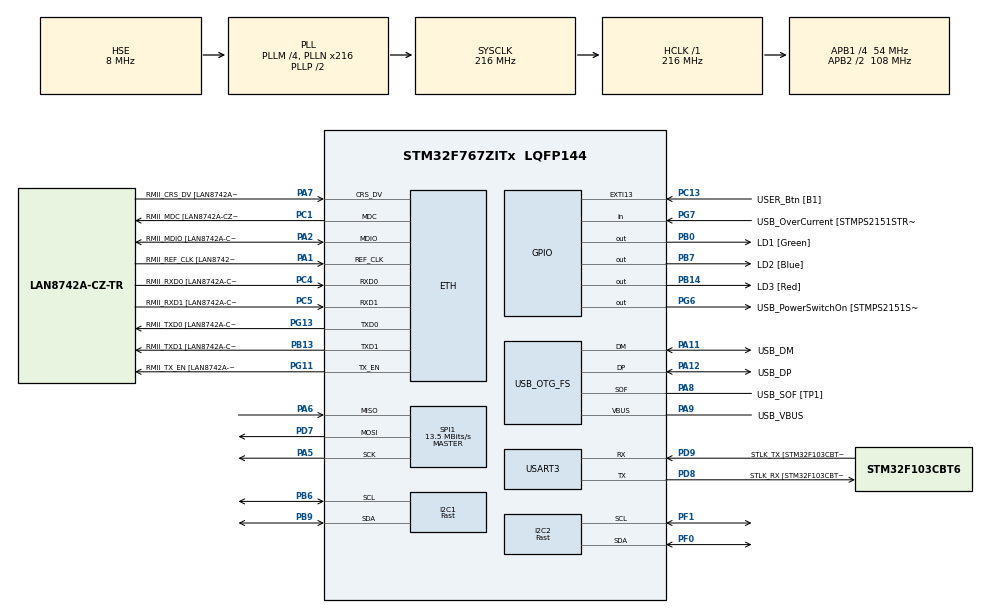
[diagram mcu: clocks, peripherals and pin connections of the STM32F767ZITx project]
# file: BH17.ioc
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Mcu.Family=STM32F7
PD7.Mode=Full_Duplex_Master
VP_TIM5_VS_ClockSourceINT.Mode=Internal
PA6.Mode=Full_Duplex_Master
RCC.CortexFreq_Value=216000000
PG6.Signal=GPIO_Output
I2C1.I2C_Speed_Mode=I2C_Fast
SPI1.VirtualType=VM_MASTER
PB14.GPIO_Label=LD3 [Red]
PG6.GPIO_Label=USB_PowerSwitchOn [STMPS2151STR_EN]
PA14.GPIO_Label=TCK
RCC.SYSCLKSourceVirtual=RCC_SYSCLKSOURCE_PLLCLK
I2C2.Timing=0x6000030D
PA11.Mode=Device_Only
I2C2.Timeout=0x00008293
PB0.GPIO_Label=LD1 [Green]
PC14/OSC32_IN.Mode=LSE-External-Oscillator
PC5.Mode=RMII
PC13.GPIO_Label=USER_Btn [B1]
PB13.GPIO_Label=RMII_TXD1 [LAN8742A-CZ-TR_TXD1]
PB13.Signal=ETH_TXD1
PG13.Signal=ETH_TXD0
PD9.Mode=Asynchronous
PG11.Signal=ETH_TX_EN
RCC.SYSCLKSource=RCC_SYSCLKSOURCE_PLLCLK
ProjectManager.StackSize=0x400
USART3.VirtualMode-Asynchronous=VM_ASYNC
PA12.Signal=USB_OTG_FS_DP
NVIC.TIM5_IRQn=true\:0\:0\:false\:false\:true\:true\:true
ETH.PHY_Value=0
SPI1.Direction=SPI_DIRECTION_2LINES
PH0/OSC_IN.Mode=HSE-External-Clock-Source
RCC.HCLKFreq_Value=216000000
I2C2.I2C_Speed_Mode=I2C_Fast
RCC.APB2TimFreq_Value=216000000
PB6.Signal=I2C1_SCL
PH1/OSC_OUT.Signal=RCC_OSC_OUT
PB6.Mode=I2C
SPI1.CalculateBaudRate=13.5 MBits/s
PD8.Signal=USART3_TX
RCC.AHBFreq_Value=216000000
RCC.HSE_VALUE=8000000
RCC.PLLMUL=RCC_PLL_MUL9
PC4.GPIO_Label=RMII_RXD0 [LAN8742A-CZ-TR_RXD0]
PA14.Mode=Serial_Wire
NVIC.TIM2_IRQn=true\:0\:0\:false\:false\:true\:true\:true
SPI1.DataSize=SPI_DATASIZE_8BIT
PA10.GPIO_Label=USB_ID
PB7.Signal=GPIO_Output
PA8.Signal=USB_OTG_FS_SOF
PG13.Mode=RMII
ETH.PHY_Name=LAN8742A_PHY_ADDRESS
PH1/OSC_OUT.Mode=HSE-External-Clock-Source
PB7.GPIO_Label=LD2 [Blue]
Mcu.Package=LQFP144
PB9.Signal=I2C1_SDA
PA6.Signal=SPI1_MISO
NVIC.TimeBase=TIM4_IRQn
PC14/OSC32_IN.Signal=RCC_OSC32_IN
PA2.GPIO_Label=RMII_MDIO [LAN8742A-CZ-TR_MDIO]
NVIC.TimeBaseIP=TIM4
PA10.Signal=USB_OTG_FS_ID
USB_OTG_FS.VirtualMode=Device_Only
RCC.APB2CLKDivider=RCC_HCLK_DIV2
RCC.APB1TimFreq_Value=108000000
PG11.GPIO_Label=RMII_TX_EN [LAN8742A-CZ-TR_TXEN]
PF0.Signal=I2C2_SDA
PC5.Signal=ETH_RXD1
PB13.Mode=RMII
SPI1.BaudRatePrescaler=SPI_BAUDRATEPRESCALER_8
PC4.Mode=RMII
PA5.Mode=Full_Duplex_Master
PB3.GPIO_Label=SWO
CORTEX_M7.CPU_ICache=Enabled
PA7.Mode=RMII
PG7.Signal=GPIO_Input
PD9.GPIO_Label=STLK_TX [STM32F103CBT6_PA2]
PC13.Signal=GPXTI13
PA9.GPIO_Label=USB_VBUS
PC4.Signal=ETH_RXD0
PD7.Signal=SPI1_MOSI
PA11.GPIO_Label=USB_DM
PD9.Signal=USART3_RX
RCC.APB1CLKDivider=RCC_HCLK_DIV4
PG13.GPIO_Label=RMII_TXD0 [LAN8742A-CZ-TR_TXD0]
ETH.PhyAddress=0
PA12.GPIO_Label=USB_DP
PD8.GPIO_Label=STLK_RX [STM32F103CBT6_PA3]
PA13.Signal=SYS_JTMS-SWDIO
PF1.Mode=I2C
CORTEX_M7.MPU_Control=MPU_HFNMI_PRIVDEF
PA9.Mode=Activate_VBUS
PA8.GPIO_Label=USB_SOF [TP1]
ProjectManager.TargetToolchain=TrueSTUDIO
PB9.Mode=I2C
PA9.Signal=USB_OTG_FS_VBUS
I2C1.Timing=0x6000030D
RCC.USBFreq_Value=48000000
PD8.Mode=Asynchronous
PA1.Signal=ETH_REF_CLK
PB14.Signal=GPIO_Output
PA5.Signal=SPI1_SCK
board=NUCLEO-F767ZI
RCC.VCOOutputFreq_Value=432000000
PH0/OSC_IN.Signal=RCC_OSC_IN
RCC.APB2Freq_Value=108000000
PA1.Mode=RMII
RCC.PRESCALERUSB=RCC_USBCLKSOURCE_PLL_DIV1_5
VP_TIM2_VS_ClockSourceINT.Mode=Internal
SPI1.Mode=SPI_MODE_MASTER
PG7.GPIO_Label=USB_OverCurrent [STMPS2151STR_FAULT]
PA1.GPIO_Label=RMII_REF_CLK [LAN8742A-CZ-TR_REFCLK0]
PC1.GPIO_Label=RMII_MDC [LAN8742A-CZ-TR_MDC]
PF1.Signal=I2C2_SCL
PA13.Mode=Serial_Wire
Mcu.Name=STM32F767ZITx
PA2.Signal=ETH_MDIO
PA13.GPIO_Label=TMS
RCC.48MHZClocksFreq_Value=24000000
PB3.Signal=SYS_JTDO-SWO
RCC.SYSCLKFreq_VALUE=216000000
ETH.MediaInterface=ETH_MEDIA_INTERFACE_RMII
PA7.GPIO_Label=RMII_CRS_DV [LAN8742A-CZ-TR_CRS_DV]
PA12.Mode=Device_Only
PC5.GPIO_Label=RMII_RXD1 [LAN8742A-CZ-TR_RXD1]
PC15/OSC32_OUT.Mode=LSE-External-Oscillator
PG11.Mode=RMII
PA11.Signal=USB_OTG_FS_DM
PA14.Signal=SYS_JTCK-SWCLK
ProjectManager.HeapSize=0x200
PF0.Mode=I2C
VP_SYS_VS_tim4.Mode=TIM4
RCC.HSI_VALUE=16000000
PH0/OSC_IN.GPIO_Label=MCO [STM32F103CBT6_PA8]
RCC.PLLQ=9
NVIC.PriorityGroup=NVIC_PRIORITYGROUP_4
RCC.PLLM=4
RCC.PLLN=216
PA2.Mode=RMII
PC15/OSC32_OUT.Signal=RCC_OSC32_OUT
PA8.Mode=Activate_SOF_FS
CORTEX_M7.CPU_DCache=Enabled
NVIC.TIM4_IRQn=true\:0\:0\:false\:false\:true\:false\:true
RCC.APB1Freq_Value=54000000
PB0.Signal=GPIO_Output
PC1.Signal=ETH_MDC
PC1.Mode=RMII
PA7.Signal=ETH_CRS_DV

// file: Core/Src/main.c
/* USER CODE BEGIN Header */
/**
  ******************************************************************************
  * @file           : main.c
  * @brief          : Main program body
  ******************************************************************************
  * @attention
  *
  * <h2><center>&copy; Copyright (c) 2021 STMicroelectronics.
  * All rights reserved.</center></h2>
  *
  * This software component is licensed by ST under BSD 3-Clause license,
  * the "License"; You may not use this file except in compliance with the
  * License. You may obtain a copy of the License at:
  *                        opensource.org/licenses/BSD-3-Clause
  *
  ******************************************************************************
  */
/* USER CODE END Header */
#include "main.h"

/* USER CODE BEGIN Includes */
#include "bh1750.h"

/* USER CODE END Includes */

/* USER CODE BEGIN PTD */
#define MCP9808_REG_TEMP (0x05) // Temperature Register
#define MCP9808_REG_CONF (0x01) // Configuration Register
#define MCP9808_ADDR     (0x30) // MCP9808 base address 0x18<<1

/* USER CODE END PTD */

/* USER CODE BEGIN PM */
char buffer[50];
/* USER CODE END PM */

ETH_HandleTypeDef heth;

I2C_HandleTypeDef hi2c1;
I2C_HandleTypeDef hi2c2;

SPI_HandleTypeDef hspi1;

TIM_HandleTypeDef htim2;
TIM_HandleTypeDef htim5;

UART_HandleTypeDef huart3;

PCD_HandleTypeDef hpcd_USB_OTG_FS;

/* USER CODE BEGIN PV */
volatile char TempCelsiusDisplay[] = "+abc.dd C";

/* USER CODE END PV */

void SystemClock_Config(void);
static void MPU_Config(void);
static void MX_GPIO_Init(void);
static void MX_ETH_Init(void);
static void MX_I2C1_Init(void);
static void MX_I2C2_Init(void);
static void MX_SPI1_Init(void);
static void MX_TIM2_Init(void);
static void MX_TIM5_Init(void);
static void MX_USART3_UART_Init(void);
static void MX_USB_OTG_FS_PCD_Init(void);
/* USER CODE BEGIN PFP */
float BH1750_lux;
/* USER CODE END PFP */

int main(void)
{
  /* USER CODE BEGIN 1 */
	  uint8_t size;

	  float temprature;
	    char data_write[3];
	    char data_read[2];
	    int tempval;
  /* USER CODE END 1 */

  /* MPU Configuration--------------------------------------------------------*/
 MPU_Config();

  /* Enable I-Cache---------------------------------------------------------*/
  SCB_EnableICache();

  /* Enable D-Cache---------------------------------------------------------*/
 SCB_EnableDCache();

  /* MCU Configuration--------------------------------------------------------*/

  /* Reset of all peripherals, Initializes the Flash interface and the Systick. */
  HAL_Init();

  /* USER CODE BEGIN Init */
  uint8_t buf[100];
  data_write[0] = MCP9808_REG_CONF;
   data_write[1] = 0x00;  // config msb
   data_write[2] = 0x00;  // config lsb
   int stat=0;
  /* USER CODE END Init */

  /* Configure the system clock */
  SystemClock_Config();

  /* Initialize all configured peripherals */
  MX_GPIO_Init();
 // MX_ETH_Init();
  MX_I2C1_Init();
  MX_I2C2_Init();
  MX_SPI1_Init();
  MX_TIM2_Init();
  MX_TIM5_Init();
  MX_USART3_UART_Init();
 // MX_USB_OTG_FS_PCD_Init();
  HAL_Delay(3000);
   if(HAL_I2C_Init(&hi2c1) != HAL_OK)
   {
     /* Initialization Error */
 		sprintf(buf,"error Initiate  %d\r\n");
 		HAL_UART_Transmit(&huart3,buf,strlen(buf),1000);
   }
 sprintf(buf,"hello World\n\r");
 if(stat=(HAL_I2C_Master_Transmit(&hi2c1,MCP9808_ADDR,data_write,3,1000))!=HAL_OK)
 {
 	sprintf(buf,"error sending commmand  %d\r\n",stat);
 	HAL_UART_Transmit(&huart3,buf,strlen(buf),1000);
     while (1) {
          HAL_GPIO_TogglePin(LD2_GPIO_Port,LD2_Pin);
          HAL_Delay(200);
      }

 }
  size = sprintf(buffer, "BH1750 start \n\r");
  HAL_UART_Transmit(&huart3, (uint8_t*)buffer, size, 100);
 // BH1750_init_i2c(&hi2c1);
   BH1750_device_t* test_dev = BH1750_init_dev_struct(&hi2c2, "test device", true);
   BH1750_init_dev(test_dev);
   size = sprintf(buffer, "BH1750 start \n\r");
   HAL_UART_Transmit(&huart3, (uint8_t*)buffer, size, 100);
  /* Infinite loop */
  /* USER CODE BEGIN WHILE */

  while (1)
  {
	  data_write[0] = MCP9808_REG_TEMP;
		      HAL_I2C_Master_Transmit(&hi2c1,MCP9808_ADDR,data_write,1,1000);// no stop
		     HAL_I2C_Master_Receive(&hi2c1,MCP9808_ADDR, data_read, 2,1000);
		     if(data_read[0] & 0xE0) {
		    	 sprintf(buf,"\r\n");
		         HAL_UART_Transmit(&huart3,buf,strlen(buf),1000);
		         data_read[0] = data_read[0] & 0x1F;  // clear flag bits
		     }
		     if((data_read[0] & 0x10) == 0x10) {
		         data_read[0] = data_read[0] & 0x0F;
		         TempCelsiusDisplay[0] = '-';
		         tempval = 256 - (data_read[0] << 4) + (data_read[1] >> 4);
		     } else {
		         TempCelsiusDisplay[0] = '+';
		         tempval = (data_read[0] << 4) + (data_read[1] >> 4);
		     }

		     // fractional part (0.25°C precision)
		     if (data_read[1] & 0x08) {
		         if(data_read[1] & 0x04) {
		             TempCelsiusDisplay[5] = '7';
		             TempCelsiusDisplay[6] = '5';
		         } else {
		             TempCelsiusDisplay[5] = '5';
		             TempCelsiusDisplay[6] = '0';
		         }
		     } else {
		         if(data_read[1] & 0x04) {
		             TempCelsiusDisplay[5] = '2';
		             TempCelsiusDisplay[6] = '5';
		         }else{
		             TempCelsiusDisplay[5] = '0';
		             TempCelsiusDisplay[6] = '0';
		         }
		     }

		     // Integer part
		     TempCelsiusDisplay[1] = (tempval / 100) + 0x30;
		     TempCelsiusDisplay[2] = ((tempval % 100) / 10) + 0x30;
		     TempCelsiusDisplay[3] = ((tempval % 100) % 10) + 0x30;

		     // Display result
		     sprintf(buf,"temp = %s\r\n", TempCelsiusDisplay);
		     HAL_UART_Transmit(&huart3,buf,strlen(buf),1000);
		  test_dev->poll(test_dev);
		  	  HAL_Delay(1000);
    /* USER CODE END WHILE */

  }
}

void SystemClock_Config(void)
{
  RCC_OscInitTypeDef RCC_OscInitStruct = {0};
  RCC_ClkInitTypeDef RCC_ClkInitStruct = {0};
  RCC_PeriphCLKInitTypeDef PeriphClkInitStruct = {0};

  /** Configure LSE Drive Capability
  */
  HAL_PWR_EnableBkUpAccess();
  /** Configure the main internal regulator output voltage
  */
  __HAL_RCC_PWR_CLK_ENABLE();
  __HAL_PWR_VOLTAGESCALING_CONFIG(PWR_REGULATOR_VOLTAGE_SCALE1);
  /** Initializes the RCC Oscillators according to the specified parameters
  * in the RCC_OscInitTypeDef structure.
  */
  RCC_OscInitStruct.OscillatorType = RCC_OSCILLATORTYPE_HSE;
  RCC_OscInitStruct.HSEState = RCC_HSE_BYPASS;
  RCC_OscInitStruct.PLL.PLLState = RCC_PLL_ON;
  RCC_OscInitStruct.PLL.PLLSource = RCC_PLLSOURCE_HSE;
  RCC_OscInitStruct.PLL.PLLM = 4;
  RCC_OscInitStruct.PLL.PLLN = 216;
  RCC_OscInitStruct.PLL.PLLP = RCC_PLLP_DIV2;
  RCC_OscInitStruct.PLL.PLLQ = 9;
  if (HAL_RCC_OscConfig(&RCC_OscInitStruct) != HAL_OK)
  {
    Error_Handler();
  }
  /** Activate the Over-Drive mode
  */
  if (HAL_PWREx_EnableOverDrive() != HAL_OK)
  {
    Error_Handler();
  }
  /** Initializes the CPU, AHB and APB buses clocks
  */
  RCC_ClkInitStruct.ClockType = RCC_CLOCKTYPE_HCLK|RCC_CLOCKTYPE_SYSCLK
                              |RCC_CLOCKTYPE_PCLK1|RCC_CLOCKTYPE_PCLK2;
  RCC_ClkInitStruct.SYSCLKSource = RCC_SYSCLKSOURCE_PLLCLK;
  RCC_ClkInitStruct.AHBCLKDivider = RCC_SYSCLK_DIV1;
  RCC_ClkInitStruct.APB1CLKDivider = RCC_HCLK_DIV4;
  RCC_ClkInitStruct.APB2CLKDivider = RCC_HCLK_DIV2;

  if (HAL_RCC_ClockConfig(&RCC_ClkInitStruct, FLASH_LATENCY_7) != HAL_OK)
  {
    Error_Handler();
  }
  PeriphClkInitStruct.PeriphClockSelection = RCC_PERIPHCLK_USART3|RCC_PERIPHCLK_I2C1
                              |RCC_PERIPHCLK_I2C2|RCC_PERIPHCLK_CLK48;
  PeriphClkInitStruct.Usart3ClockSelection = RCC_USART3CLKSOURCE_PCLK1;
  PeriphClkInitStruct.I2c1ClockSelection = RCC_I2C1CLKSOURCE_PCLK1;
  PeriphClkInitStruct.I2c2ClockSelection = RCC_I2C2CLKSOURCE_PCLK1;
  PeriphClkInitStruct.Clk48ClockSelection = RCC_CLK48SOURCE_PLL;
  if (HAL_RCCEx_PeriphCLKConfig(&PeriphClkInitStruct) != HAL_OK)
  {
    Error_Handler();
  }
}

static void MX_ETH_Init(void)
{

  heth.Instance = ETH;
  heth.Init.AutoNegotiation = ETH_AUTONEGOTIATION_ENABLE;
  heth.Init.Speed = ETH_SPEED_100M;
  heth.Init.DuplexMode = ETH_MODE_FULLDUPLEX;
  heth.Init.PhyAddress = LAN8742A_PHY_ADDRESS;
  heth.Init.MACAddr[0] =   0x00;
  heth.Init.MACAddr[1] =   0x80;
  heth.Init.MACAddr[2] =   0xE1;
  heth.Init.MACAddr[3] =   0x00;
  heth.Init.MACAddr[4] =   0x00;
  heth.Init.MACAddr[5] =   0x00;
  heth.Init.RxMode = ETH_RXPOLLING_MODE;
  heth.Init.ChecksumMode = ETH_CHECKSUM_BY_HARDWARE;
  heth.Init.MediaInterface = ETH_MEDIA_INTERFACE_RMII;

  if (HAL_ETH_Init(&heth) != HAL_OK)
  {
    Error_Handler();
  }

}

static void MX_I2C1_Init(void)
{

  hi2c1.Instance = I2C1;
  hi2c1.Init.Timing = 0x20303E5D;
  hi2c1.Init.OwnAddress1 = 0;
  hi2c1.Init.AddressingMode = I2C_ADDRESSINGMODE_7BIT;
  hi2c1.Init.DualAddressMode = I2C_DUALADDRESS_DISABLE;
  hi2c1.Init.OwnAddress2 = 0;
  hi2c1.Init.OwnAddress2Masks = I2C_OA2_NOMASK;
  hi2c1.Init.GeneralCallMode = I2C_GENERALCALL_DISABLE;
  hi2c1.Init.NoStretchMode = I2C_NOSTRETCH_DISABLE;
  if (HAL_I2C_Init(&hi2c1) != HAL_OK)
  {
    Error_Handler();
  }
  /** Configure Analogue filter
  */
  if (HAL_I2CEx_ConfigAnalogFilter(&hi2c1, I2C_ANALOGFILTER_ENABLE) != HAL_OK)
  {
    Error_Handler();
  }
  /** Configure Digital filter
  */
  if (HAL_I2CEx_ConfigDigitalFilter(&hi2c1, 0) != HAL_OK)
  {
    Error_Handler();
  }

}

static void MX_I2C2_Init(void)
{

  hi2c2.Instance = I2C2;
  hi2c2.Init.Timing = 0x20303E5D;
  hi2c2.Init.OwnAddress1 = 0;
  hi2c2.Init.AddressingMode = I2C_ADDRESSINGMODE_7BIT;
  hi2c2.Init.DualAddressMode = I2C_DUALADDRESS_DISABLE;
  hi2c2.Init.OwnAddress2 = 0;
  hi2c2.Init.OwnAddress2Masks = I2C_OA2_NOMASK;
  hi2c2.Init.GeneralCallMode = I2C_GENERALCALL_DISABLE;
  hi2c2.Init.NoStretchMode = I2C_NOSTRETCH_DISABLE;
  if (HAL_I2C_Init(&hi2c2) != HAL_OK)
  {
    Error_Handler();
  }
  /** Configure Analogue filter
  */
  if (HAL_I2CEx_ConfigAnalogFilter(&hi2c2, I2C_ANALOGFILTER_ENABLE) != HAL_OK)
  {
    Error_Handler();
  }
  /** Configure Digital filter
  */
  if (HAL_I2CEx_ConfigDigitalFilter(&hi2c2, 0) != HAL_OK)
  {
    Error_Handler();
  }

}

static void MX_SPI1_Init(void)
{

  /* SPI1 parameter configuration*/
  hspi1.Instance = SPI1;
  hspi1.Init.Mode = SPI_MODE_MASTER;
  hspi1.Init.Direction = SPI_DIRECTION_2LINES;
  hspi1.Init.DataSize = SPI_DATASIZE_8BIT;
  hspi1.Init.CLKPolarity = SPI_POLARITY_LOW;
  hspi1.Init.CLKPhase = SPI_PHASE_1EDGE;
  hspi1.Init.NSS = SPI_NSS_SOFT;
  hspi1.Init.BaudRatePrescaler = SPI_BAUDRATEPRESCALER_8;
  hspi1.Init.FirstBit = SPI_FIRSTBIT_MSB;
  hspi1.Init.TIMode = SPI_TIMODE_DISABLE;
  hspi1.Init.CRCCalculation = SPI_CRCCALCULATION_DISABLE;
  hspi1.Init.CRCPolynomial = 7;
  hspi1.Init.CRCLength = SPI_CRC_LENGTH_DATASIZE;
  hspi1.Init.NSSPMode = SPI_NSS_PULSE_ENABLE;
  if (HAL_SPI_Init(&hspi1) != HAL_OK)
  {
    Error_Handler();
  }

}

static void MX_TIM2_Init(void)
{

  TIM_ClockConfigTypeDef sClockSourceConfig = {0};
  TIM_MasterConfigTypeDef sMasterConfig = {0};

  htim2.Instance = TIM2;
  htim2.Init.Prescaler = 0;
  htim2.Init.CounterMode = TIM_COUNTERMODE_UP;
  htim2.Init.Period = 4294967295;
  htim2.Init.ClockDivision = TIM_CLOCKDIVISION_DIV1;
  htim2.Init.AutoReloadPreload = TIM_AUTORELOAD_PRELOAD_DISABLE;
  if (HAL_TIM_Base_Init(&htim2) != HAL_OK)
  {
    Error_Handler();
  }
  sClockSourceConfig.ClockSource = TIM_CLOCKSOURCE_INTERNAL;
  if (HAL_TIM_ConfigClockSource(&htim2, &sClockSourceConfig) != HAL_OK)
  {
    Error_Handler();
  }
  sMasterConfig.MasterOutputTrigger = TIM_TRGO_RESET;
  sMasterConfig.MasterSlaveMode = TIM_MASTERSLAVEMODE_DISABLE;
  if (HAL_TIMEx_MasterConfigSynchronization(&htim2, &sMasterConfig) != HAL_OK)
  {
    Error_Handler();
  }

}

static void MX_TIM5_Init(void)
{

  TIM_ClockConfigTypeDef sClockSourceConfig = {0};
  TIM_MasterConfigTypeDef sMasterConfig = {0};

  htim5.Instance = TIM5;
  htim5.Init.Prescaler = 0;
  htim5.Init.CounterMode = TIM_COUNTERMODE_UP;
  htim5.Init.Period = 4294967295;
  htim5.Init.ClockDivision = TIM_CLOCKDIVISION_DIV1;
  htim5.Init.AutoReloadPreload = TIM_AUTORELOAD_PRELOAD_DISABLE;
  if (HAL_TIM_Base_Init(&htim5) != HAL_OK)
  {
    Error_Handler();
  }
  sClockSourceConfig.ClockSource = TIM_CLOCKSOURCE_INTERNAL;
  if (HAL_TIM_ConfigClockSource(&htim5, &sClockSourceConfig) != HAL_OK)
  {
    Error_Handler();
  }
  sMasterConfig.MasterOutputTrigger = TIM_TRGO_RESET;
  sMasterConfig.MasterSlaveMode = TIM_MASTERSLAVEMODE_DISABLE;
  if (HAL_TIMEx_MasterConfigSynchronization(&htim5, &sMasterConfig) != HAL_OK)
  {
    Error_Handler();
  }

}

static void MX_USART3_UART_Init(void)
{

  huart3.Instance = USART3;
  huart3.Init.BaudRate = 115200;
  huart3.Init.WordLength = UART_WORDLENGTH_8B;
  huart3.Init.StopBits = UART_STOPBITS_1;
  huart3.Init.Parity = UART_PARITY_NONE;
  huart3.Init.Mode = UART_MODE_TX_RX;
  huart3.Init.HwFlowCtl = UART_HWCONTROL_NONE;
  huart3.Init.OverSampling = UART_OVERSAMPLING_16;
  huart3.Init.OneBitSampling = UART_ONE_BIT_SAMPLE_DISABLE;
  huart3.AdvancedInit.AdvFeatureInit = UART_ADVFEATURE_NO_INIT;
  if (HAL_UART_Init(&huart3) != HAL_OK)
  {
    Error_Handler();
  }

}

static void MX_USB_OTG_FS_PCD_Init(void)
{

  hpcd_USB_OTG_FS.Instance = USB_OTG_FS;
  hpcd_USB_OTG_FS.Init.dev_endpoints = 6;
  hpcd_USB_OTG_FS.Init.speed = PCD_SPEED_FULL;
  hpcd_USB_OTG_FS.Init.dma_enable = DISABLE;
  hpcd_USB_OTG_FS.Init.phy_itface = PCD_PHY_EMBEDDED;
  hpcd_USB_OTG_FS.Init.Sof_enable = ENABLE;
  hpcd_USB_OTG_FS.Init.low_power_enable = DISABLE;
  hpcd_USB_OTG_FS.Init.lpm_enable = DISABLE;
  hpcd_USB_OTG_FS.Init.vbus_sensing_enable = ENABLE;
  hpcd_USB_OTG_FS.Init.use_dedicated_ep1 = DISABLE;
  if (HAL_PCD_Init(&hpcd_USB_OTG_FS) != HAL_OK)
  {
    Error_Handler();
  }

}

static void MX_GPIO_Init(void)
{
  GPIO_InitTypeDef GPIO_InitStruct = {0};

  /* GPIO Ports Clock Enable */
  __HAL_RCC_GPIOC_CLK_ENABLE();
  __HAL_RCC_GPIOF_CLK_ENABLE();
  __HAL_RCC_GPIOH_CLK_ENABLE();
  __HAL_RCC_GPIOA_CLK_ENABLE();
  __HAL_RCC_GPIOB_CLK_ENABLE();
  __HAL_RCC_GPIOD_CLK_ENABLE();
  __HAL_RCC_GPIOG_CLK_ENABLE();

  /*Configure GPIO pin Output Level */
  HAL_GPIO_WritePin(GPIOB, LD1_Pin|LD3_Pin|LD2_Pin, GPIO_PIN_RESET);

  /*Configure GPIO pin Output Level */
  HAL_GPIO_WritePin(USB_PowerSwitchOn_GPIO_Port, USB_PowerSwitchOn_Pin, GPIO_PIN_RESET);

  /*Configure GPIO pin : USER_Btn_Pin */
  GPIO_InitStruct.Pin = USER_Btn_Pin;
  GPIO_InitStruct.Mode = GPIO_MODE_IT_RISING;
  GPIO_InitStruct.Pull = GPIO_NOPULL;
  HAL_GPIO_Init(USER_Btn_GPIO_Port, &GPIO_InitStruct);

  /*Configure GPIO pins : LD1_Pin LD3_Pin LD2_Pin */
  GPIO_InitStruct.Pin = LD1_Pin|LD3_Pin|LD2_Pin;
  GPIO_InitStruct.Mode = GPIO_MODE_OUTPUT_PP;
  GPIO_InitStruct.Pull = GPIO_NOPULL;
  GPIO_InitStruct.Speed = GPIO_SPEED_FREQ_LOW;
  HAL_GPIO_Init(GPIOB, &GPIO_InitStruct);

  /*Configure GPIO pin : USB_PowerSwitchOn_Pin */
  GPIO_InitStruct.Pin = USB_PowerSwitchOn_Pin;
  GPIO_InitStruct.Mode = GPIO_MODE_OUTPUT_PP;
  GPIO_InitStruct.Pull = GPIO_NOPULL;
  GPIO_InitStruct.Speed = GPIO_SPEED_FREQ_LOW;
  HAL_GPIO_Init(USB_PowerSwitchOn_GPIO_Port, &GPIO_InitStruct);

  /*Configure GPIO pin : USB_OverCurrent_Pin */
  GPIO_InitStruct.Pin = USB_OverCurrent_Pin;
  GPIO_InitStruct.Mode = GPIO_MODE_INPUT;
  GPIO_InitStruct.Pull = GPIO_NOPULL;
  HAL_GPIO_Init(USB_OverCurrent_GPIO_Port, &GPIO_InitStruct);

}

/* MPU Configuration */

void MPU_Config(void)
{

	MPU_Region_InitTypeDef MPU_InitStruct;
	/* Disable the MPU */
	HAL_MPU_Disable();
	/* Configure the MPU as Normal Non Cacheable for Ethernet Buffers in the SRAM2 */
	MPU_InitStruct.Enable = MPU_REGION_ENABLE;
	MPU_InitStruct.BaseAddress = 0x2007C000;
	MPU_InitStruct.Size = MPU_REGION_SIZE_16KB;
	MPU_InitStruct.AccessPermission = MPU_REGION_FULL_ACCESS;
	MPU_InitStruct.IsBufferable = MPU_ACCESS_NOT_BUFFERABLE;
	MPU_InitStruct.IsCacheable = MPU_ACCESS_NOT_CACHEABLE;
	MPU_InitStruct.IsShareable = MPU_ACCESS_SHAREABLE;
	MPU_InitStruct.Number = MPU_REGION_NUMBER0;
	MPU_InitStruct.TypeExtField = MPU_TEX_LEVEL1;
	MPU_InitStruct.SubRegionDisable = 0x00;
	MPU_InitStruct.DisableExec = MPU_INSTRUCTION_ACCESS_ENABLE;
	HAL_MPU_ConfigRegion(&MPU_InitStruct);
	/* Configure the MPU as Device for Ethernet Descriptors in the SRAM2 */
	MPU_InitStruct.Enable = MPU_REGION_ENABLE;
	MPU_InitStruct.BaseAddress = 0x2007C000;
	MPU_InitStruct.Size = MPU_REGION_SIZE_256B;
	MPU_InitStruct.AccessPermission = MPU_REGION_FULL_ACCESS;
	MPU_InitStruct.IsBufferable = MPU_ACCESS_BUFFERABLE;
	MPU_InitStruct.IsCacheable = MPU_ACCESS_NOT_CACHEABLE;
	MPU_InitStruct.IsShareable = MPU_ACCESS_SHAREABLE;
	MPU_InitStruct.Number = MPU_REGION_NUMBER1;
	MPU_InitStruct.TypeExtField = MPU_TEX_LEVEL0;
	MPU_InitStruct.SubRegionDisable = 0x00;
	MPU_InitStruct.DisableExec = MPU_INSTRUCTION_ACCESS_ENABLE;
	HAL_MPU_ConfigRegion(&MPU_InitStruct);

		  /* Enable the MPU */
		  HAL_MPU_Enable(MPU_PRIVILEGED_DEFAULT);

}
void HAL_TIM_PeriodElapsedCallback(TIM_HandleTypeDef *htim)
{
  if (htim->Instance == TIM4) {
    HAL_IncTick();
  }
}

void Error_Handler(void)
{
  __disable_irq();
  while (1)
  {
  }
}

/************************ (C) COPYRIGHT STMicroelectronics *****END OF FILE****/
